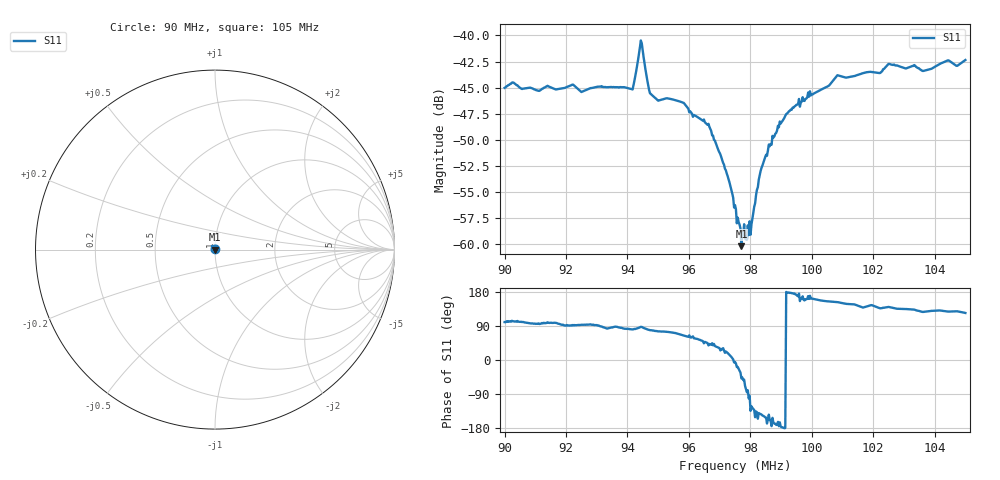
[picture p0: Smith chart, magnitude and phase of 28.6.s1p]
# HZ S RI R 50
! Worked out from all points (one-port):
!   505 points, 90 MHz to 105 MHz, reference 50 ohm
!   lowest |S11| = -60.2 dB at 97.71 MHz (marker M1), VSWR 1.00, Z = 50.1 - j0.0735 ohm
!   |S11| at or under -10 dB: start of sweep to end of sweep
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9e7  -0.000973 0.00552
9.026786e7  -0.00126 0.00582
9.107143e7  -0.000512 0.00541
9.187501e7  -0.000281 0.00557
9.375001e7  0.000431 0.00564
9.416668e7  0.000883 0.00544
9.443454e7  0.000402 0.00945
9.449406e7  0.000626 0.00847
9.467263e7  0.001 0.0057
9.479168e7  0.00104 0.00508
9.562502e7  0.0017 0.00456
9.666669e7  0.0027 0.00246
9.726193e7  0.00201 0.000669
9.750002e7  0.00153 -0.000137
9.770836e7  0.000646 -0.000734
9.788693e7  8.92e-05 -0.00104
9.800598e7  -0.000773 -0.000795
9.833336e7  -0.00178 -0.00136
9.866074e7  -0.00284 -0.00102
9.895836e7  -0.00373 -0.00103
9.937503e7  -0.0045 0.000299
1.008334e8  -0.00574 0.00294
1.0125e8  -0.00534 0.00341
1.022024e8  -0.00482 0.00451
1.025298e8  -0.00556 0.00473
1.03125e8  -0.00488 0.00502
1.036608e8  -0.0041 0.00539
1.05e8  -0.00427 0.00632
